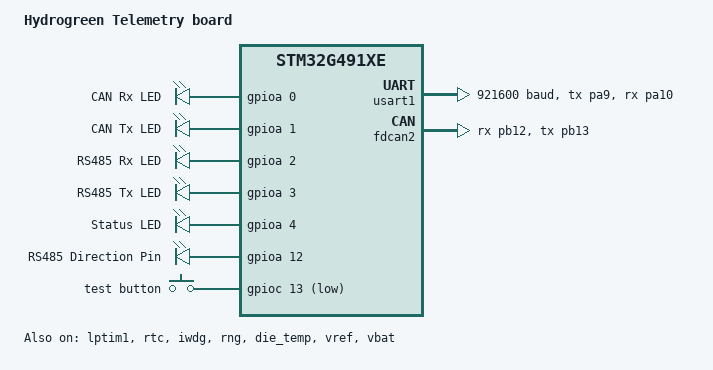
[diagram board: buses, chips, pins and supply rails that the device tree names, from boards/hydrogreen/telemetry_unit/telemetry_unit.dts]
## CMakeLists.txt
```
cmake_minimum_required(VERSION 3.20.0)

if(NOT DEFINED BOARD)
    set(BOARD telemetry_unit CACHE STRING "Zephyr target board")
endif()
if(NOT DEFINED BOARD_ROOT)
    set(BOARD_ROOT ${CMAKE_CURRENT_SOURCE_DIR} CACHE PATH "Root directory for custom boards")
endif()

find_package(Zephyr REQUIRED HINTS $ENV{ZEPHYR_BASE})
project(telemetry_unit LANGUAGES C)

target_include_directories(app PRIVATE src)
target_sources(app PRIVATE src/main.c src/telemetry_can.c)

if(CONFIG_BOOTLOADER_MCUBOOT)
    set(SIGNED_BIN  ${CMAKE_BINARY_DIR}/zephyr/zephyr.signed.bin)
    set(ELF_FILE    ${CMAKE_BINARY_DIR}/zephyr/zephyr.elf)
    set(HEADER_BIN  ${CMAKE_BINARY_DIR}/zephyr/mcuboot_header.bin)

    add_custom_target(patch_elf_mcuboot_header ALL
        COMMAND ${PYTHON_EXECUTABLE} -c
            "h=open('${SIGNED_BIN}','rb').read(${CONFIG_ROM_START_OFFSET}); open('${HEADER_BIN}','wb').write(h)"
        COMMAND ${PYTHON_EXECUTABLE}
            ${CMAKE_CURRENT_SOURCE_DIR}/tools/patch_elf_mcuboot_header.py
            ${ELF_FILE} ${HEADER_BIN} ${CONFIG_ROM_START_OFFSET}
        COMMENT "Patching MCUboot image header into zephyr.elf for GDB"
        VERBATIM
    )
    add_dependencies(patch_elf_mcuboot_header zephyr_final)
endif()
```

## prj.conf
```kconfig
CONFIG_GPIO=y
CONFIG_CAN=y
CONFIG_CAN_FD_MODE=n
CONFIG_CAN_MANUAL_RECOVERY_MODE=y

CONFIG_MAIN_STACK_SIZE=2048
CONFIG_HEAP_MEM_POOL_SIZE=1024

CONFIG_BOOTLOADER_MCUBOOT=y
CONFIG_MCUBOOT_IMG_MANAGER=y
CONFIG_MCUBOOT_GENERATE_UNSIGNED_IMAGE=y
CONFIG_REBOOT=y

CONFIG_SERIAL=y
CONFIG_LOG=y
CONFIG_LOG_MODE_IMMEDIATE=y
CONFIG_LOG_DEFAULT_LEVEL=3
CONFIG_LOG_BACKEND_RTT=y
CONFIG_LOG_BACKEND_RTT_MODE_DROP=y
CONFIG_USE_SEGGER_RTT=y
CONFIG_SEGGER_RTT_BUFFER_SIZE_UP=16384
```

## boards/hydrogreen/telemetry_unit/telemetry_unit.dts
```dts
/dts-v1/;
#include <st/g4/stm32g491Xe.dtsi>
#include <st/g4/stm32g491c(c-e)tx-pinctrl.dtsi>
#include <zephyr/dt-bindings/led/led.h>

// reference manual stm32g491cet6
// https://www.st.com/resource/en/reference_manual/dm00355726-stm32g4-series-advanced-armbased-32bit-mcus-stmicroelectronics.pdf

/ {
	model = "Hydrogreen Telemetry board";
	compatible = "hydrogreen,telemetry-unit";


	aliases {
		can-rx-led = &can_rx_led;
		can-tx-led = &can_tx_led;
		rs485-rx-led = &rs485_rx_led;
		rs485-tx-led =&rs485_tx_led;
		status-led = &status_led;
		can = &fdcan2;
		rs485 = &usart1;
		rs485-dir = &rs485_dir_pin;
		button-test = &button_test;
		watchdog0 = &iwdg;
		die-temp0 = &die_temp;
		volt-sensor0 = &vref;
		volt-sensor1 = &vbat;
	};

	chosen {
		zephyr,sram = &sram0;
		zephyr,flash = &flash0;
		zephyr,canbus = &fdcan2;
		zephyr,code-partition = &slot0_partition;
	};

	leds {
		compatible = "gpio-leds";
		can_rx_led: led_pa0 {
			gpios = <&gpioa 0 GPIO_ACTIVE_HIGH>;
			label = "CAN Rx LED";
		};
		can_tx_led: led_pa1 {
			gpios = <&gpioa 1 GPIO_ACTIVE_HIGH>;
			label = "CAN Tx LED";
		};
		rs485_rx_led: led_pa2 {
			gpios = <&gpioa 2 GPIO_ACTIVE_HIGH>;
			label = "RS485 Rx LED";
		};
		rs485_tx_led: led_pa3 {
			gpios = <&gpioa 3 GPIO_ACTIVE_HIGH>;
			label = "RS485 Tx LED";
		};
		status_led: led_pa4 {
			gpios = <&gpioa 4 GPIO_ACTIVE_HIGH>;
			label = "Status LED";
		};
	};

	gpio_outputs {
		compatible = "gpio-leds";
		rs485_dir_pin: dir_pin_pa12 {
			gpios = <&gpioa 12 GPIO_ACTIVE_HIGH>;
			label = "RS485 Direction Pin";
		};
	};

	buttons {
		compatible = "gpio-keys";
		debounce-interval-ms = <0>;
		button_test: button_pc13 {
			gpios = <&gpioc 13 (GPIO_ACTIVE_LOW | GPIO_PULL_UP)>;
			label = "test button";
		};
	};
};

&gpioa {
	status = "okay";
};

&gpiob {
	status = "okay";
};


&clk_lsi {
	status = "okay";
};

&clk_hsi48 {
	status = "okay";
};

//&clk_hse {
//	clock-frequency = <DT_FREQ_M(24)>;
//	status = "okay";
//};

&clk_hsi {
//	clock-frequency = <DT_FREQ_M(16)>;
	status = "okay";
};

&pll {
	div-m = <1>;
	mul-n = <10>;
	div-p = <2>;
	div-q = <2>;
	div-r = <2>;
	clocks = <&clk_hsi>;
	status = "okay";
};

&rcc {
	clocks = <&pll>;
	clock-frequency = <DT_FREQ_M(80)>;
	ahb-prescaler = <1>;
	apb1-prescaler = <1>;
	apb2-prescaler = <1>;
};

// reference manual page 420 (dmamux)
&usart1 {
	pinctrl-0 = <&usart1_tx_pa9 &usart1_rx_pa10>;
	pinctrl-names = "default";
	current-speed = <921600>;
	status = "okay";
	dmas = <&dmamux1 2 25 STM32_DMA_PERIPH_TX>,
		   <&dmamux1 1 24 STM32_DMA_PERIPH_RX>;
	dma-names = "tx", "rx";
};

&dma1 {
	status = "okay";
};

&dmamux1 {
	status = "okay";
};



//&timers2 {
//	status = "okay";
//
//	pwm2: pwm {
//		status = "okay";
//		pinctrl-0 = <&tim2_ch1_pa5>;
//		pinctrl-names = "default";
//	};
//};
//
//&timers3 {
//	st,prescaler = <10000>;
//	status = "okay";
//	pwm3: pwm {
//		status = "okay";
//		pinctrl-0 = <&tim3_ch1_pb4>;
//		pinctrl-names = "default";
//	};
//};

&lptim1 {
	clocks = <&rcc STM32_CLOCK_BUS_APB1 0x80000000>,
			 <&rcc STM32_SRC_LSI LPTIM1_SEL(1)>;
	status = "okay";
};

&rtc {
	clocks = <&rcc STM32_CLOCK_BUS_APB1 0x00000400>,
			 <&rcc STM32_SRC_LSI RTC_SEL(2)>;
	status = "okay";
};

&flash0 {
	erase-block-size = <2048>;
	partitions {
		compatible = "fixed-partitions";
		#address-cells = <1>;
		#size-cells = <1>;

		boot_partition: partition@0 {
			label = "mcuboot";
			reg = <0x00000000 DT_SIZE_K(40)>;
		};
		slot0_partition: partition@a000 {
			label = "image-0";
			reg = <0x0000a000 DT_SIZE_K(234)>;
		};
		slot1_partition: partition@44800 {
			label = "image-1";
			reg = <0x00044800 DT_SIZE_K(234)>;
		};
		/* Set 4Kb of storage at the end of the 512Kb of flash */
		storage_partition: partition@7f000 {
			label = "storage";
			reg = <0x0007f000 DT_SIZE_K(4)>;
		};
	};
};

&iwdg {
	status = "okay";
};

&rng {
	status = "okay";
};


&die_temp {
	status = "okay";
};

//&fdcan1 {
//	clocks = <&rcc STM32_CLOCK_BUS_APB1 0x02000000>,
//			 <&rcc STM32_SRC_HSE FDCAN_SEL(0)>;
//	pinctrl-0 = <&fdcan1_rx_pa11 &fdcan1_tx_pa12>;
//	pinctrl-names = "default";
//	status = "okay";
//};

&fdcan2 {
	clocks = <&rcc STM32_CLOCK_BUS_APB1 0x02000000>,
			 <&rcc STM32_SRC_PLL_Q FDCAN_SEL(1)>;
	pinctrl-0 = <&fdcan2_rx_pb12 &fdcan2_tx_pb13>;
	pinctrl-names = "default";
	status = "okay";
};

&vref {
	status = "okay";
};

&vbat {
	status = "okay";
};
```

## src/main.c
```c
#include "telemetry_can.h"

#include <zephyr/kernel.h>
#include <zephyr/logging/log.h>

LOG_MODULE_REGISTER(telemetry, LOG_LEVEL_INF);

int main(void)
{
    int ret = telemetry_can_init();
    if (ret != 0) {
        LOG_ERR("CAN telemetry initialization failed: %d", ret);
        return ret;
    }

    LOG_INF("Telemetry receiver started; waiting for CAN frames");

    struct can_frame frame;
    while (true) {
        ret = telemetry_can_get_frame(&frame, K_SECONDS(1));
        if (ret == 0) {
            LOG_INF("CAN RX id=0x%08x %s dlc=%u data=%02x %02x %02x %02x %02x %02x %02x %02x",
                    frame.id,
                    (frame.flags & CAN_FRAME_IDE) ? "extended" : "standard",
                    frame.dlc,
                    frame.data[0], frame.data[1], frame.data[2], frame.data[3],
                    frame.data[4], frame.data[5], frame.data[6], frame.data[7]);
        } else {
            LOG_INF("CAN telemetry: no frame received in the last second (dropped=%u)",
                    telemetry_can_dropped_frames());
        }
    }
}
```

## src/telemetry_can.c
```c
#include "telemetry_can.h"

#include <errno.h>
#include <zephyr/device.h>
#include <zephyr/logging/log.h>
#include <hydrogreen/can/can_ids.h>
#include <hydrogreen/peripherals/can.h>

LOG_MODULE_REGISTER(telemetry_can, LOG_LEVEL_INF);

#define TELEMETRY_RX_QUEUE_DEPTH 32

K_MSGQ_DEFINE(telemetry_rx_queue, sizeof(struct can_frame), TELEMETRY_RX_QUEUE_DEPTH, 4);
static atomic_t dropped_frames;
static const struct device *can_dev;

static void telemetry_can_rx_callback(const struct device *dev,
                                      struct can_frame *frame,
                                      void *user_data)
{
    ARG_UNUSED(dev);
    struct k_msgq *queue = user_data;
    if (k_msgq_put(queue, frame, K_NO_WAIT) != 0) {
        atomic_inc(&dropped_frames);
    }
}

int telemetry_can_init(void)
{
    can_dev = DEVICE_DT_GET(DT_ALIAS(can));
    if (!device_is_ready(can_dev)) {
        LOG_ERR("CAN device %s is not ready", can_dev->name);
        return -ENODEV;
    }

    int ret = can_init(can_dev, HYDROGREEN_CAN_BAUD_RATE);
    if (ret != 0) {
        LOG_ERR("Failed to initialize CAN at %u bit/s: %d",
                HYDROGREEN_CAN_BAUD_RATE, ret);
        return ret;
    }

    const struct can_filter filters[] = {
        {.id = 0, .mask = 0, .flags = CAN_FILTER_IDE}, /* all extended IDs */
        {.id = 0, .mask = 0, .flags = 0},              /* all standard IDs */
    };

    for (size_t i = 0; i < ARRAY_SIZE(filters); ++i) {
        ret = can_add_rx_filter(can_dev, telemetry_can_rx_callback,
                                &telemetry_rx_queue, &filters[i]);
        if (ret < 0) {
            LOG_ERR("Failed to install CAN RX filter %u: %d", (unsigned)i, ret);
            return ret;
        }
    }

    LOG_INF("CAN telemetry receiver ready at %u bit/s", HYDROGREEN_CAN_BAUD_RATE);
    return 0;
}

int telemetry_can_get_frame(struct can_frame *frame, k_timeout_t timeout)
{
    if (frame == NULL) {
        return -EINVAL;
    }
    return k_msgq_get(&telemetry_rx_queue, frame, timeout);
}

uint32_t telemetry_can_dropped_frames(void)
{
    return (uint32_t)atomic_get(&dropped_frames);
}
```

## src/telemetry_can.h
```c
#ifndef TELEMETRY_CAN_H
#define TELEMETRY_CAN_H

#include <stdint.h>
#include <zephyr/drivers/can.h>
#include <zephyr/kernel.h>

int telemetry_can_init(void);
int telemetry_can_get_frame(struct can_frame *frame, k_timeout_t timeout);
uint32_t telemetry_can_dropped_frames(void);

#endif
```
